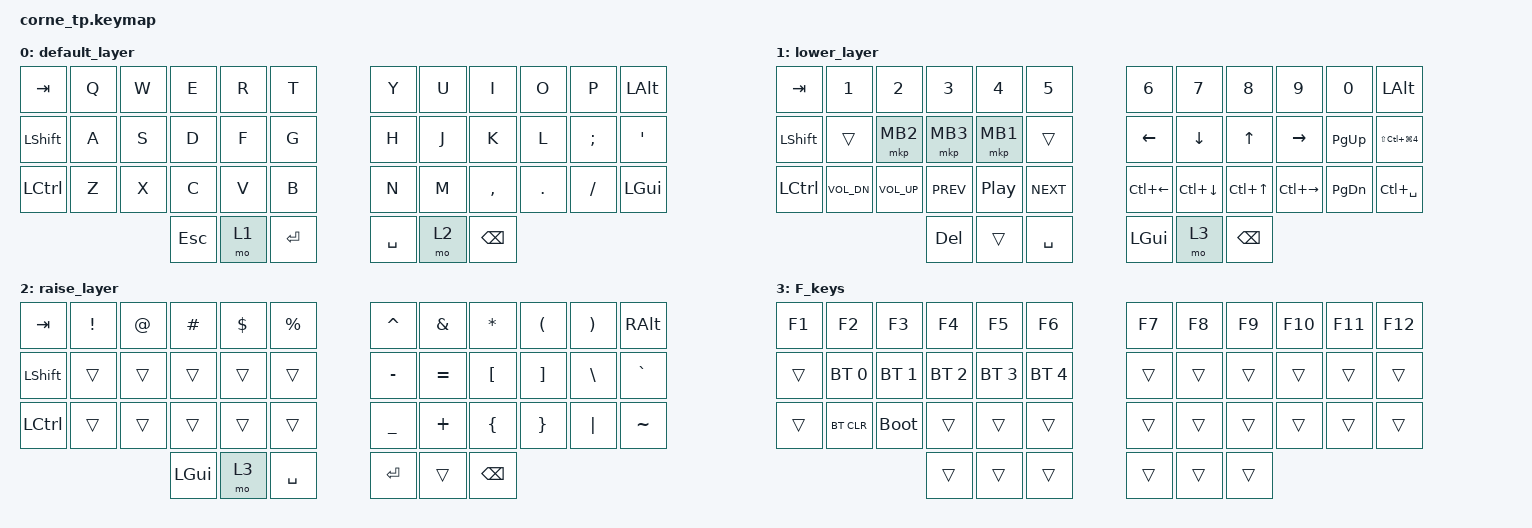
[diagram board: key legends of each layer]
/*
 * Copyright (c) 2020 The ZMK Contributors
 * SPDX-License-Identifier: MIT
 */

#include <behaviors.dtsi>
#include <dt-bindings/zmk/bt.h>
#include <dt-bindings/zmk/keys.h>
#include <dt-bindings/zmk/pointing.h>

/ {
    macros {
        screenshot_mac_4: screenshot_mac_4 {
            compatible = "zmk,behavior-macro";
            #binding-cells = <0>;
            bindings = <&none>;
            label = "SCREENSHOT_MAC_4";
        };
    };

    keymap {
        compatible = "zmk,keymap";

        default_layer {
            // -----------------------------------------------------------------------------------------
            // |  TAB |  Q  |  W  |  E  |  R  |  T  |   |  Y  |  U   |  I  |  O  |  P  | BKSP |
            // | CTRL |  A  |  S  |  D  |  F  |  G  |   |  H  |  J   |  K  |  L  |  ;  |  '   |
            // | SHFT |  Z  |  X  |  C  |  V  |  B  |   |  N  |  M   |  ,  |  .  |  /  | ESC  |
            //                    | GUI | LWR | SPC |   | ENT | RSE  | ALT |

            bindings = <
&kp TAB           &kp Q  &kp W  &kp E       &kp R  &kp T      &kp Y      &kp U  &kp I          &kp O    &kp P     &kp LEFT_ALT
&kp LEFT_SHIFT    &kp A  &kp S  &kp D       &kp F  &kp G      &kp H      &kp J  &kp K          &kp L    &kp SEMI  &kp SQT
&kp LEFT_CONTROL  &kp Z  &kp X  &kp C       &kp V  &kp B      &kp N      &kp M  &kp COMMA      &kp DOT  &kp FSLH  &kp LEFT_GUI
                                &kp ESCAPE  &mo 1  &kp RET    &kp SPACE  &mo 2  &kp BACKSPACE
            >;
        };

        lower_layer {
            // -----------------------------------------------------------------------------------------
            // |  TAB |  1  |  2  |  3  |  4  |  5  |   |  6  |  7  |  8  |  9  |  0  | BKSP |
            // | SHFT |     | MB2 | MB3 | MB1 |     |   | LFT | DWN |  UP | RGT | PGUP|      |
            // | CTRL |     |     |     |     |     |   |     |     |     |     |     |      |
            //                    | DEL |     | SPC |   | GUI | L3  | BKSP|

            bindings = <
&kp TAB           &kp N1        &kp N2           &kp N3        &kp N4            &kp N5          &kp N6        &kp N7              &kp N8            &kp N9         &kp N0         &kp LEFT_ALT
&kp LEFT_SHIFT    &trans        &mkp MB2         &mkp MB3      &mkp MB1          &trans          &kp LEFT      &kp DOWN            &kp UP            &kp RIGHT      &kp PAGE_UP    &kp LS(LC(LG(NUMBER_4)))
&kp LEFT_CONTROL  &kp C_VOL_DN  &kp C_VOLUME_UP  &kp C_PREV    &kp C_PLAY_PAUSE  &kp C_NEXT      &kp LC(LEFT)  &kp LC(DOWN_ARROW)  &kp LC(UP_ARROW)  &kp LC(RIGHT)  &kp PAGE_DOWN  &kp LC(SPACE)
                                                 &kp DEL       &trans            &kp SPACE       &kp LEFT_GUI  &mo 3               &kp BACKSPACE
            >;
        };

        raise_layer {
            // -----------------------------------------------------------------------------------------
            // |  TAB |  !  |  @  |  #  |  $  |  %  |   |  ^  |  &  |  *  |  (  |  )  | BKSP |
            // | CTRL |     |     |     |     |     |   |  -  |  =  |  [  |  ]  |  \  |  `   |
            // | SHFT |     |     |     |     |     |   |  _  |  +  |  {  |  }  | "|" |  ~   |
            //                    | GUI |     | SPC |   | ENT |     | ALT |

            bindings = <
&kp TAB           &kp EXCL  &kp AT  &kp HASH  &kp DLLR  &kp PRCNT    &kp CARET  &kp AMPS   &kp ASTRK      &kp LPAR  &kp RPAR  &kp RIGHT_ALT
&kp LEFT_SHIFT    &trans    &trans  &trans    &trans    &trans       &kp MINUS  &kp EQUAL  &kp LBKT       &kp RBKT  &kp BSLH  &kp GRAVE
&kp LEFT_CONTROL  &trans    &trans  &trans    &trans    &trans       &kp UNDER  &kp PLUS   &kp LBRC       &kp RBRC  &kp PIPE  &kp TILDE
                                    &kp LGUI  &mo 3     &kp SPACE    &kp RET    &trans     &kp BACKSPACE
            >;
        };

        F_keys {
            // -----------------------------------------------------------------------------------------
            // |  F1  |  F2 |  F3 |  F4 |  F5 |  F6 |   |  F7 |  F8 |  F9 | F10 | F11 | F12  |
            // |      | BT0 | BT1 | BT2 | BT3 | BT4 |   |     |     |     |     |     |      |
            // |      |BTCLR| BOOT|     |     |     |   |     |     |     |     |     |      |
            //                    |     |     |     |   |     |     |     |

            bindings = <
&kp F1  &kp F2        &kp F3        &kp F4        &kp F5        &kp F6          &kp F7  &kp F8  &kp F9  &kp F10  &kp F11  &kp F12
&trans  &bt BT_SEL 0  &bt BT_SEL 1  &bt BT_SEL 2  &bt BT_SEL 3  &bt BT_SEL 4    &trans  &trans  &trans  &trans   &trans   &trans
&trans  &bt BT_CLR    &bootloader   &trans        &trans        &trans          &trans  &trans  &trans  &trans   &trans   &trans
                                    &trans        &trans        &trans          &trans  &trans  &trans
            >;
        };
    };
};
